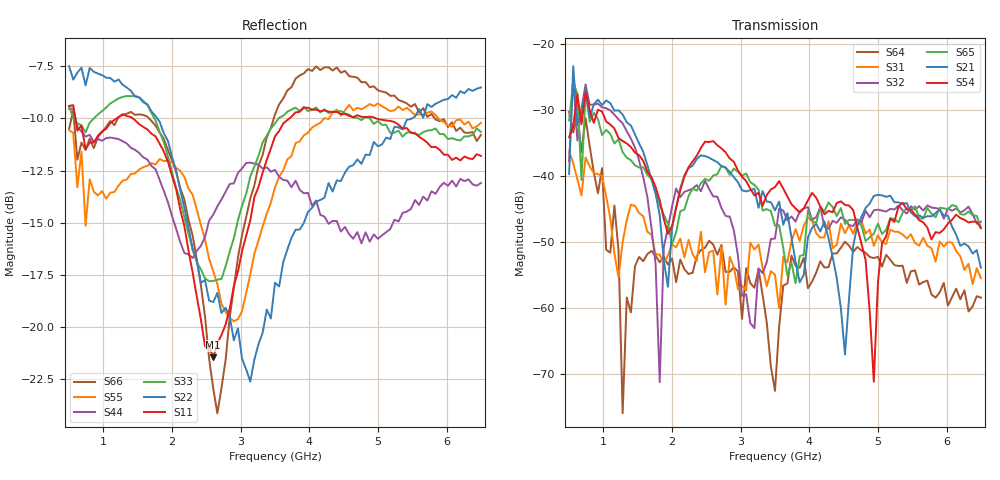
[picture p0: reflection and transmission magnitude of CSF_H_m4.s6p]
!Keysight Technologies,M9804A,MY58100912,A.14.10.03
!Date: Thursday, April 27, 2023 10:28:33
!Correction: S11(C  6-Port  )
!S12(C  6-Port  )
!S13(C  6-Port  )
!S14(C  6-Port  )
!S15(C  6-Port  )
!S16(C  6-Port  )
!S21(C  6-Port  )
!S22(C  6-Port  )
!S23(C  6-Port  )
!S24(C  6-Port  )
!S25(C  6-Port  )
!S26(C  6-Port  )
!S31(C  6-Port  )
!S32(C  6-Port  )
!S33(C  6-Port  )
!S34(C  6-Port  )
!S35(C  6-Port  )
!S36(C  6-Port  )
!S41(C  6-Port  )
!S42(C  6-Port  )
!S43(C  6-Port  )
!S44(C  6-Port  )
!S45(C  6-Port  )
!S46(C  6-Port  )
!S51(C  6-Port  )
!S52(C  6-Port  )
!S53(C  6-Port  )
!S54(C  6-Port  )
!S55(C  6-Port  )
!S56(C  6-Port  )
!S61(C  6-Port  )
!S62(C  6-Port  )
!S63(C  6-Port  )
!S64(C  6-Port  )
!S65(C  6-Port  )
!S66(C  6-Port  )
!S6P File: Measurement: :
# Hz S  RI  R 50
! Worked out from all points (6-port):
!   101 points, 500 MHz to 6.5 GHz, reference 50 ohm
!   strongest paths, dB at 500 MHz, 2 GHz, 3.5 GHz, 5 GHz, 6.5 GHz:
!     S54: -34.1, -47.5, -41.6, -56.1, -47.9
!     S21: -39.7, -47.9, -45.2, -42.8, -53.9
!     S65: -31.5, -50.3, -47.5, -47.2, -47.8
!     S32: -37.7, -44.6, -49.5, -45.1, -46.9
!     S31: -36.2, -50.4, -55.0, -49.0, -55.4
!     S64: -30.3, -52.5, -72.6, -52.2, -58.4
!   lowest |S11| = -21.5 dB at 2.6 GHz (marker M1), VSWR 1.18, Z = 42.5 + j2.17 ohm
!   |S11| at or under -10 dB: 591.2 MHz to 1.192 GHz (600.3 MHz wide, 67.3 % of centre); 1.427 GHz to 3.709 GHz (2.282 GHz wide, 88.8 % of centre); 4.976 GHz to end of sweep
